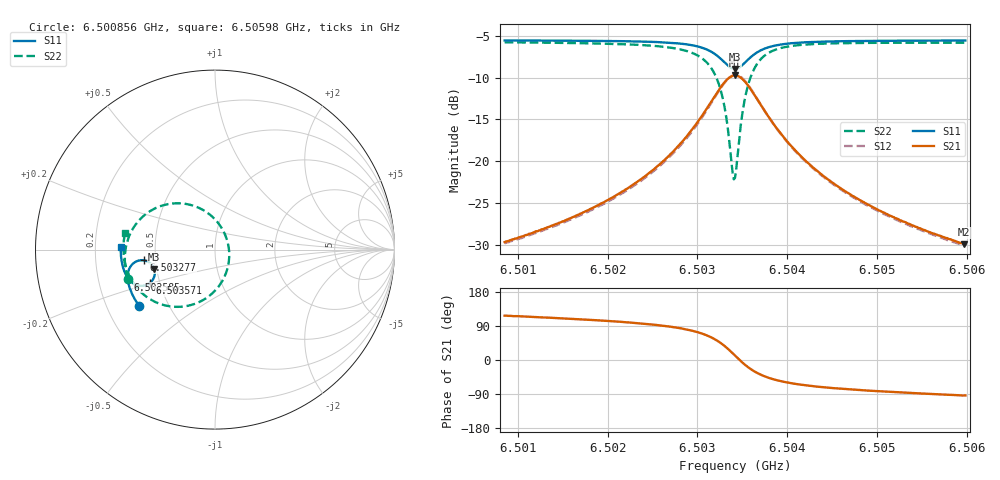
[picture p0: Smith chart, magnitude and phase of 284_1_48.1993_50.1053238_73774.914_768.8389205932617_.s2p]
#  HZ  S  RI  R  50.00
! Rohde & Schwarz Vector Network Analyzer
! Rohde-Schwarz,ZNB20-2Port,1311601062101988,3.16
! Created: UTC 3/20/2024, 11:48:47 AM
! freq[Hz]  re:S11  im:S11  re:S21  im:S21  re:S12  im:S12  re:S22  im:S22
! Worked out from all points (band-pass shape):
!   401 points, 6.500856 GHz to 6.50598 GHz, reference 50 ohm
!   highest |S21| = -9.75 dB at 6.503418 GHz (marker M1); lowest = -29.9 dB at 6.505967 GHz (marker M2)
!   |S21| within 3 dB of the highest: 6.503161 GHz to 6.503673 GHz (512 kHz wide, 0.00787 % of centre)
!   lowest |S11| = -9.0 dB at 6.503418 GHz (marker M3), VSWR 2.10, Z = 24.2 - j6.04 ohm
!   |S11| at or under -10 dB: nowhere
!   |S22| runs from -22.2 to -5.8 dB; largest |S21 - S12| = 0.011
!   S11 on the Smith chart (normalised r, x): 6.500856 GHz: 0.34, -0.30; 6.502585 GHz: 0.33, -0.15; 6.503277 GHz: 0.43, -0.06; 6.503571 GHz: 0.44, -0.20; 6.50598 GHz: 0.31, +0.01
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6.5008558e9  -0.4219 -0.3151  -0.0148 0.0293  -0.0133 0.0295  -0.4872 -0.1626
6.501714e9  -0.4594 -0.2525  -0.0144 0.0467  -0.012 0.0464  -0.5019 -0.0728
6.5022008e9  -0.4768 -0.2098  -0.0117 0.0667  -0.00844 0.0656  -0.4993 -0.00476
6.5025723e9  -0.4858 -0.1692  -0.00288 0.0949  0.000719 0.0927  -0.4811 0.0684
6.5025851e9  -0.486 -0.1676  -0.00242 0.0963  0.00122 0.0939  -0.4797 0.0713
6.5028285e9  -0.4853 -0.1324  0.016 0.1293  0.0197 0.1256  -0.4414 0.1408
6.5030078e9  -0.4739 -0.0992  0.0507 0.1654  0.0538 0.16  -0.3731 0.2069
6.5031743e9  -0.4391 -0.0663  0.1281 0.1986  0.1293 0.1922  -0.2307 0.2573
6.5032768e9  -0.3966 -0.0594  0.2132 0.1895  0.2134 0.1842  -0.0826 0.2292
6.5033281e9  -0.3712 -0.0682  0.2613 0.1616  0.2622 0.1569  -0.00282 0.1717
6.5033921e9  -0.3447 -0.0945  0.3085 0.0981  0.311 0.0931  0.0681 0.0498
6.5034177e9  -0.3385 -0.109  0.3186 0.0661  0.3217 0.0603  0.0789 -0.00984
6.5035074e9  -0.3427 -0.1611  0.3039 -0.0442  0.3059 -0.054  0.0214 -0.2041
6.5035714e9  -0.3638 -0.1866  0.2615 -0.0976  0.2603 -0.1086  -0.0744 -0.2854
6.5036739e9  -0.4028 -0.2015  0.1877 -0.133  0.1823 -0.1424  -0.2226 -0.3188
6.5038405e9  -0.4485 -0.1917  0.1071 -0.1302  0.1001 -0.135  -0.3678 -0.2722
6.5040198e9  -0.4757 -0.1703  0.0631 -0.1103  0.057 -0.1124  -0.439 -0.2082
6.504276e9  -0.4962 -0.1402  0.0336 -0.0864  0.0288 -0.0868  -0.4818 -0.1365
6.5046347e9  -0.5111 -0.1032  0.0157 -0.0647  0.0123 -0.0644  -0.5031 -0.0662
6.5051343e9  -0.5212 -0.0571  0.00486 -0.0472  0.00268 -0.0467  -0.5099 0.0038
6.5059669e9  -0.5258 0.0132  -0.00206 -0.0317  -0.00337 -0.0311  -0.5019 0.091
6.5059797e9  -0.5259 0.0141  -0.00206 -0.0318  -0.00336 -0.0309  -0.5018 0.092
